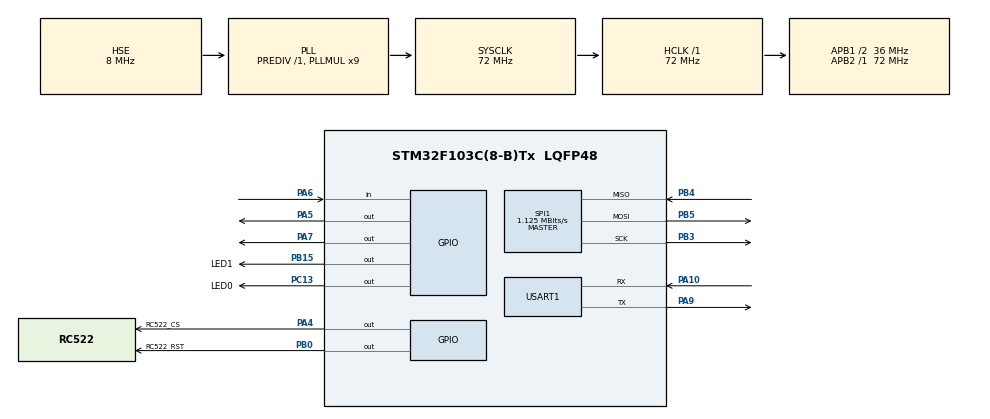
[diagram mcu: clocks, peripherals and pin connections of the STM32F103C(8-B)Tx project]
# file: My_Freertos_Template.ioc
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FREERTOS.Tasks01=defaultTask,0,128,StartDefaultTask,Default,NULL,Dynamic,NULL,NULL;myTask02,-3,512,StartTask02,Default,NULL,Dynamic,NULL,NULL
Mcu.Family=STM32F1
Mcu.Name=STM32F103C(8-B)Tx
Mcu.Package=LQFP48
NVIC.PriorityGroup=NVIC_PRIORITYGROUP_4
NVIC.TIM1_UP_IRQn=true\:15\:0\:false\:false\:true\:false\:false\:true\:true
NVIC.TimeBase=TIM1_UP_IRQn
NVIC.TimeBaseIP=TIM1
PA10.Mode=Asynchronous
PA10.Signal=USART1_RX
PA13.Mode=Serial_Wire
PA13.Signal=SYS_JTMS-SWDIO
PA14.Mode=Serial_Wire
PA14.Signal=SYS_JTCK-SWCLK
PA4.GPIO_Label=RC522_CS
PA4.Signal=GPIO_Output
PA5.Signal=GPIO_Output
PA6.Signal=GPIO_Input
PA7.Signal=GPIO_Output
PA9.Mode=Asynchronous
PA9.Signal=USART1_TX
PB0.GPIO_Label=RC522_RST
PB0.Signal=GPIO_Output
PB15.GPIO_Label=LED1
PB15.Signal=GPIO_Output
PB3.Mode=Full_Duplex_Master
PB3.Signal=SPI1_SCK
PB4.Mode=Full_Duplex_Master
PB4.Signal=SPI1_MISO
PB5.Mode=Full_Duplex_Master
PB5.Signal=SPI1_MOSI
PC13-TAMPER-RTC.GPIO_Label=LED0
PC13-TAMPER-RTC.Signal=GPIO_Output
PD0-OSC_IN.Mode=HSE-External-Oscillator
PD0-OSC_IN.Signal=RCC_OSC_IN
PD1-OSC_OUT.Mode=HSE-External-Oscillator
PD1-OSC_OUT.Signal=RCC_OSC_OUT
ProjectManager.HeapSize=0x200
ProjectManager.StackSize=0x400
ProjectManager.TargetToolchain=SW4STM32
RCC.AHBFreq_Value=72000000
RCC.APB1CLKDivider=RCC_HCLK_DIV2
RCC.APB1Freq_Value=36000000
RCC.APB1TimFreq_Value=72000000
RCC.APB2Freq_Value=72000000
RCC.APB2TimFreq_Value=72000000
RCC.HCLKFreq_Value=72000000
RCC.PLLMUL=RCC_PLL_MUL9
RCC.PLLSourceVirtual=RCC_PLLSOURCE_HSE
RCC.SYSCLKFreq_VALUE=72000000
RCC.SYSCLKSource=RCC_SYSCLKSOURCE_PLLCLK
RCC.USBFreq_Value=72000000
SPI1.BaudRatePrescaler=SPI_BAUDRATEPRESCALER_64
SPI1.CalculateBaudRate=1.125 MBits/s
SPI1.Direction=SPI_DIRECTION_2LINES
SPI1.Mode=SPI_MODE_MASTER
SPI1.VirtualType=VM_MASTER
USART1.VirtualMode=VM_ASYNC
VP_FREERTOS_VS_CMSIS_V1.Mode=CMSIS_V1
VP_SYS_VS_tim1.Mode=TIM1
board=custom

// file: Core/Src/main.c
/* USER CODE BEGIN Header */
/**
  ******************************************************************************
  * @file           : main.c
  * @brief          : Main program body
  ******************************************************************************
  * @attention
  *
  * Copyright (c) 2023 STMicroelectronics.
  * All rights reserved.
  *
  * This software is licensed under terms that can be found in the LICENSE file
  * in the root directory of this software component.
  * If no LICENSE file comes with this software, it is provided AS-IS.
  *
  ******************************************************************************
  */
/* USER CODE END Header */
#include "main.h"
#include "cmsis_os.h"
#include "spi.h"
#include "usart.h"
#include "gpio.h"

void SystemClock_Config(void);
void MX_FREERTOS_Init(void);

int main(void)
{

  /* MCU Configuration--------------------------------------------------------*/

  /* Reset of all peripherals, Initializes the Flash interface and the Systick. */
  HAL_Init();

  /* Configure the system clock */
  SystemClock_Config();

  /* Initialize all configured peripherals */
  MX_GPIO_Init();
  MX_USART1_UART_Init();
  MX_SPI1_Init();

  /* Call init function for freertos objects (in freertos.c) */
  MX_FREERTOS_Init();

  /* Start scheduler */
  osKernelStart();

  /* We should never get here as control is now taken by the scheduler */
  /* Infinite loop */
  while (1)
  {

  }
}

void SystemClock_Config(void)
{
  RCC_OscInitTypeDef RCC_OscInitStruct = {0};
  RCC_ClkInitTypeDef RCC_ClkInitStruct = {0};

  /** Initializes the RCC Oscillators according to the specified parameters
  * in the RCC_OscInitTypeDef structure.
  */
  RCC_OscInitStruct.OscillatorType = RCC_OSCILLATORTYPE_HSE;
  RCC_OscInitStruct.HSEState = RCC_HSE_ON;
  RCC_OscInitStruct.HSEPredivValue = RCC_HSE_PREDIV_DIV1;
  RCC_OscInitStruct.HSIState = RCC_HSI_ON;
  RCC_OscInitStruct.PLL.PLLState = RCC_PLL_ON;
  RCC_OscInitStruct.PLL.PLLSource = RCC_PLLSOURCE_HSE;
  RCC_OscInitStruct.PLL.PLLMUL = RCC_PLL_MUL9;
  if (HAL_RCC_OscConfig(&RCC_OscInitStruct) != HAL_OK)
  {
    Error_Handler();
  }

  /** Initializes the CPU, AHB and APB buses clocks
  */
  RCC_ClkInitStruct.ClockType = RCC_CLOCKTYPE_HCLK|RCC_CLOCKTYPE_SYSCLK
                              |RCC_CLOCKTYPE_PCLK1|RCC_CLOCKTYPE_PCLK2;
  RCC_ClkInitStruct.SYSCLKSource = RCC_SYSCLKSOURCE_PLLCLK;
  RCC_ClkInitStruct.AHBCLKDivider = RCC_SYSCLK_DIV1;
  RCC_ClkInitStruct.APB1CLKDivider = RCC_HCLK_DIV2;
  RCC_ClkInitStruct.APB2CLKDivider = RCC_HCLK_DIV1;

  if (HAL_RCC_ClockConfig(&RCC_ClkInitStruct, FLASH_LATENCY_2) != HAL_OK)
  {
    Error_Handler();
  }
}

void HAL_TIM_PeriodElapsedCallback(TIM_HandleTypeDef *htim)
{
  if (htim->Instance == TIM1) {
    HAL_IncTick();
  }
}

void Error_Handler(void)
{
  __disable_irq();
  while (1)
  {
  }
}

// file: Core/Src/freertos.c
/* USER CODE BEGIN Header */
/**
  ******************************************************************************
  * File Name          : freertos.c
  * Description        : Code for freertos applications
  ******************************************************************************
  * @attention
  *
  * Copyright (c) 2023 STMicroelectronics.
  * All rights reserved.
  *
  * This software is licensed under terms that can be found in the LICENSE file
  * in the root directory of this software component.
  * If no LICENSE file comes with this software, it is provided AS-IS.
  *
  ******************************************************************************
  */
/* USER CODE END Header */

#include "FreeRTOS.h"
#include "task.h"
#include "main.h"
#include "cmsis_os.h"

/* USER CODE BEGIN Includes */
#include "retarget.h"
#include "usart.h"
#include "rc522_function.h"
#include "RC522.h"
#include "string.h"
/* USER CODE END Includes */

/* USER CODE BEGIN Variables */
#define MBLOCK  1

/* USER CODE END Variables */
osThreadId defaultTaskHandle;
osThreadId myTask02Handle;

void StartDefaultTask(void const * argument);
void StartTask02(void const * argument);

void MX_FREERTOS_Init(void); /* (MISRA C 2004 rule 8.1) */

/* GetIdleTaskMemory prototype (linked to static allocation support) */
void vApplicationGetIdleTaskMemory( StaticTask_t **ppxIdleTaskTCBBuffer, StackType_t **ppxIdleTaskStackBuffer, uint32_t *pulIdleTaskStackSize );

/* USER CODE BEGIN GET_IDLE_TASK_MEMORY */
static StaticTask_t xIdleTaskTCBBuffer;
static StackType_t xIdleStack[configMINIMAL_STACK_SIZE];

void vApplicationGetIdleTaskMemory( StaticTask_t **ppxIdleTaskTCBBuffer, StackType_t **ppxIdleTaskStackBuffer, uint32_t *pulIdleTaskStackSize )
{
  *ppxIdleTaskTCBBuffer = &xIdleTaskTCBBuffer;
  *ppxIdleTaskStackBuffer = &xIdleStack[0];
  *pulIdleTaskStackSize = configMINIMAL_STACK_SIZE;
  /* place for user code */
}
/* USER CODE END GET_IDLE_TASK_MEMORY */

void MX_FREERTOS_Init(void) {
  /* USER CODE BEGIN Init */
    RetargetInit(&huart1);
//    PcdReset();
//    M500PcdConfigISOType('A');
  /* USER CODE END Init */

  /* Create the thread(s) */
  /* definition and creation of defaultTask */
  osThreadDef(defaultTask, StartDefaultTask, osPriorityNormal, 0, 128);
  defaultTaskHandle = osThreadCreate(osThread(defaultTask), NULL);

  /* definition and creation of myTask02 */
  osThreadDef(myTask02, StartTask02, osPriorityIdle, 0, 512);
  myTask02Handle = osThreadCreate(osThread(myTask02), NULL);

}

void StartDefaultTask(void const * argument)
{
  /* USER CODE BEGIN StartDefaultTask */
  /* Infinite loop */
  for(;;)
  {
    printf("test\r\n");
    osDelay(1000);
  }
  /* USER CODE END StartDefaultTask */
}

void StartTask02(void const * argument)
{
  /* USER CODE BEGIN StartTask02 */
    uint8_t RxBuffer[32], TxBuffer[32];
    char IDcard[10];
    char __IDcard[10] = "4ba18a25";
    char IDcard__[10] = "3957ee5c";
    static int IDCard_Err_Num = 0;
    char status = 1;
    /*RS522初始化*/
    MFRC_Init();
    PCD_Reset();
    osDelay(350);
  /* Infinite loop */
  for(;;)
  {
        /*获取卡号*/
        status = PCD_Request(PICC_REQALL, RxBuffer);//返回值为0，代表寻卡成功；并把卡类型存入tempbuf中
      printf("status = %d\r\n",status);
        if(status == PCD_OK)
        {
            /*防冲突,返回卡号*/
            PCD_Anticoll(RxBuffer);   //把（十六进制）的4个字节卡号存储在数组tempbuf中
            sprintf(IDcard, "%x%x%x%x", RxBuffer[0], RxBuffer[1], RxBuffer[2], RxBuffer[3]);
            /*****开始进行卡号判断******/
            if(strcmp(__IDcard, IDcard) == 0 || strcmp(IDcard__, IDcard) == 0) //卡号判断正确
            {
                //sendmsg(huart1, TxBuffer, "%d,02,06,%s,\r\n", Address, IDcard); //把卡号发给串口1方便调试
                IDcard[0] = 0x00; //清空字符串
            }
            else
            {
                IDCard_Err_Num++;//卡号不匹配，标志位自增
                //sendmsg(huart1, TxBuffer, "%d,01,06,01,%s,%d\r\n", Address, IDcard, IDCard_Err_Num); //错误，卡号不匹配
                if(IDCard_Err_Num >= 5) //5次报警
                {
                    //sendmsg(huart1, TxBuffer, "%d,02,06,01,Call phone\r\n", Address); //错误，卡号不匹配，并报警
                    IDCard_Err_Num = 0;
                }

            }
        }
        if(status != PCD_OK)
        {
            PCD_Reset();
        }
        //osMessagePut(QueWdtHandle, 0x08, 10);
        osDelay(300);
  }
  /* USER CODE END StartTask02 */
}
